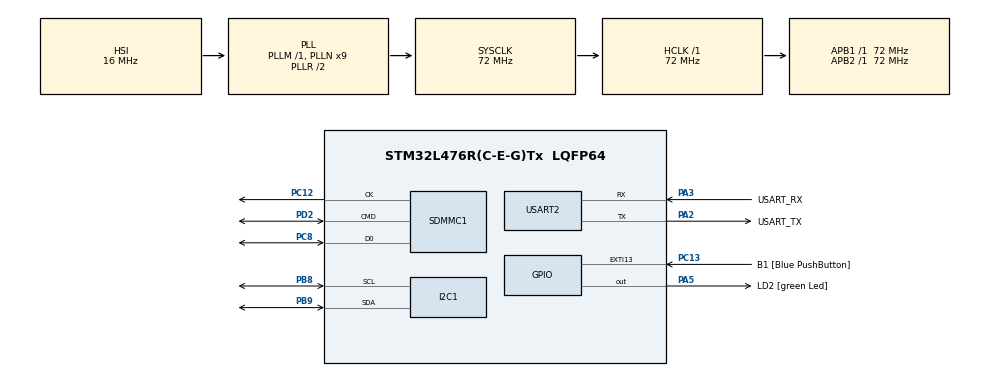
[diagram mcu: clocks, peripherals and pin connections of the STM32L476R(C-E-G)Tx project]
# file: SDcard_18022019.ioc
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FATFS._MAX_SS=4096
I2C1.Timing=0x10808DD3
Mcu.Family=STM32L4
Mcu.Name=STM32L476R(C-E-G)Tx
Mcu.Package=LQFP64
NVIC.PriorityGroup=NVIC_PRIORITYGROUP_4
PA13\ (JTMS-SWDIO).GPIO_Label=TMS
PA13\ (JTMS-SWDIO).Mode=Serial_Wire
PA13\ (JTMS-SWDIO).Signal=SYS_JTMS-SWDIO
PA14\ (JTCK-SWCLK).GPIO_Label=TCK
PA14\ (JTCK-SWCLK).Mode=Serial_Wire
PA14\ (JTCK-SWCLK).Signal=SYS_JTCK-SWCLK
PA2.GPIO_Label=USART_TX
PA2.GPIO_Mode=GPIO_MODE_AF_PP
PA2.GPIO_PuPd=GPIO_NOPULL
PA2.GPIO_Speed=GPIO_SPEED_FREQ_VERY_HIGH
PA2.Mode=Asynchronous
PA2.Signal=USART2_TX
PA3.GPIO_Label=USART_RX
PA3.GPIO_Mode=GPIO_MODE_AF_PP
PA3.GPIO_PuPd=GPIO_NOPULL
PA3.GPIO_Speed=GPIO_SPEED_FREQ_VERY_HIGH
PA3.Mode=Asynchronous
PA3.Signal=USART2_RX
PA5.GPIO_Label=LD2 [green Led]
PA5.GPIO_ModeDefaultOutputPP=GPIO_MODE_OUTPUT_PP
PA5.GPIO_PuPd=GPIO_NOPULL
PA5.GPIO_Speed=GPIO_SPEED_FREQ_LOW
PA5.Signal=GPIO_Output
PB3\ (JTDO-TRACESWO).GPIO_Label=SWO
PB3\ (JTDO-TRACESWO).Signal=SYS_JTDO-SWO
PB8.Mode=I2C
PB8.Signal=I2C1_SCL
PB9.Mode=I2C
PB9.Signal=I2C1_SDA
PC12.Mode=SD_1_bit
PC12.Signal=SDMMC1_CK
PC13.GPIO_Label=B1 [Blue PushButton]
PC13.GPIO_ModeDefaultEXTI=GPIO_MODE_IT_FALLING
PC13.GPIO_PuPd=GPIO_NOPULL
PC13.Signal=GPXTI13
PC14-OSC32_IN\ (PC14).Mode=LSE-External-Oscillator
PC14-OSC32_IN\ (PC14).Signal=RCC_OSC32_IN
PC15-OSC32_OUT\ (PC15).Mode=LSE-External-Oscillator
PC15-OSC32_OUT\ (PC15).Signal=RCC_OSC32_OUT
PC8.Mode=SD_1_bit
PC8.Signal=SDMMC1_D0
PD2.Mode=SD_1_bit
PD2.Signal=SDMMC1_CMD
PH0-OSC_IN\ (PH0).Signal=RCC_OSC_IN
PH1-OSC_OUT\ (PH1).Signal=RCC_OSC_OUT
ProjectManager.HeapSize=0x2000
ProjectManager.StackSize=0x4000
ProjectManager.TargetToolchain=MDK-ARM V5
RCC.ADCFreq_Value=64000000
RCC.AHBFreq_Value=72000000
RCC.APB1Freq_Value=72000000
RCC.APB1TimFreq_Value=72000000
RCC.APB2Freq_Value=72000000
RCC.APB2TimFreq_Value=72000000
RCC.CortexFreq_Value=72000000
RCC.HCLKFreq_Value=72000000
RCC.HSE_VALUE=8000000
RCC.HSI_VALUE=16000000
RCC.MSI_VALUE=4000000
RCC.PLLN=9
RCC.PLLSAI1Q=RCC_PLLQ_DIV4
RCC.PLLSourceVirtual=RCC_PLLSOURCE_HSI
RCC.PREFETCH_ENABLE=1
RCC.SYSCLKFreq_VALUE=72000000
RCC.SYSCLKSource=RCC_SYSCLKSOURCE_PLLCLK
RCC.USBFreq_Value=32000000
RCC.VCOOutputFreq_Value=144000000
SDMMC1.ClockDiv=3
USART2.VirtualMode-Asynchronous=VM_ASYNC
VP_FATFS_VS_SDIO.Mode=SDIO
board=NUCLEO-L476RG

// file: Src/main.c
/**
  ******************************************************************************
  * @file           : main.c
  * @brief          : Main program body
  ******************************************************************************
  * This notice applies to any and all portions of this file
  * that are not between comment pairs USER CODE BEGIN and
  * USER CODE END. Other portions of this file, whether
  * inserted by the user or by software development tools
  * are owned by their respective copyright owners.
  *
  * Copyright (c) 2019 STMicroelectronics International N.V.
  * All rights reserved.
  *
  * Redistribution and use in source and binary forms, with or without
  * modification, are permitted, provided that the following conditions are met:
  *
  * 1. Redistribution of source code must retain the above copyright notice,
  *    this list of conditions and the following disclaimer.
  * 2. Redistributions in binary form must reproduce the above copyright notice,
  *    this list of conditions and the following disclaimer in the documentation
  *    and/or other materials provided with the distribution.
  * 3. Neither the name of STMicroelectronics nor the names of other
  *    contributors to this software may be used to endorse or promote products
  *    derived from this software without specific written permission.
  * 4. This software, including modifications and/or derivative works of this
  *    software, must execute solely and exclusively on microcontroller or
  *    microprocessor devices manufactured by or for STMicroelectronics.
  * 5. Redistribution and use of this software other than as permitted under
  *    this license is void and will automatically terminate your rights under
  *    this license.
  *
  * THIS SOFTWARE IS PROVIDED BY STMICROELECTRONICS AND CONTRIBUTORS "AS IS"
  * AND ANY EXPRESS, IMPLIED OR STATUTORY WARRANTIES, INCLUDING, BUT NOT
  * LIMITED TO, THE IMPLIED WARRANTIES OF MERCHANTABILITY, FITNESS FOR A
  * PARTICULAR PURPOSE AND NON-INFRINGEMENT OF THIRD PARTY INTELLECTUAL PROPERTY
  * RIGHTS ARE DISCLAIMED TO THE FULLEST EXTENT PERMITTED BY LAW. IN NO EVENT
  * SHALL STMICROELECTRONICS OR CONTRIBUTORS BE LIABLE FOR ANY DIRECT, INDIRECT,
  * INCIDENTAL, SPECIAL, EXEMPLARY, OR CONSEQUENTIAL DAMAGES (INCLUDING, BUT NOT
  * LIMITED TO, PROCUREMENT OF SUBSTITUTE GOODS OR SERVICES; LOSS OF USE, DATA,
  * OR PROFITS; OR BUSINESS INTERRUPTION) HOWEVER CAUSED AND ON ANY THEORY OF
  * LIABILITY, WHETHER IN CONTRACT, STRICT LIABILITY, OR TORT (INCLUDING
  * NEGLIGENCE OR OTHERWISE) ARISING IN ANY WAY OUT OF THE USE OF THIS SOFTWARE,
  * EVEN IF ADVISED OF THE POSSIBILITY OF SUCH DAMAGE.
  *
  ******************************************************************************
  */
#include "main.h"
#include "stm32l4xx_hal.h"
#include "fatfs.h"
#include "i2c.h"
#include "sdmmc.h"
#include "usart.h"
#include "gpio.h"
#include "SD_card.h"

/* USER CODE BEGIN PV */
/* Private variables ---------------------------------------------------------*/
uint8_t error = 0;
uint8_t data =0x01;
/* USER CODE END PV */

void SystemClock_Config(void);

/* USER CODE BEGIN PFP */
/* Private function prototypes -----------------------------------------------*/

/* USER CODE END PFP */

int main(void)
{

  /* MCU Configuration----------------------------------------------------------*/

  /* Reset of all peripherals, Initializes the Flash interface and the Systick. */
  HAL_Init();

  /* Configure the system clock */
  SystemClock_Config();

  /* Initialize all configured peripherals */
  MX_GPIO_Init();
  MX_USART2_UART_Init();
  MX_SDMMC1_SD_Init();
  MX_FATFS_Init();
  MX_I2C1_Init();
  /* USER CODE BEGIN 2 */
  FATFS myFATFS;
  FIL myFILE;
  UINT testByte;

HAL_GPIO_WritePin(LD2_GPIO_Port, LD2_Pin, 1);
HAL_Delay(100);

//	error = Store_data(0x00);

  if(f_mount(&myFATFS, SDPath, 1) == FR_OK)
  {
	  HAL_GPIO_WritePin(LD2_GPIO_Port, LD2_Pin, 1);
	  char myFileName[] = "WRITE1.TXT";

	  if(f_open(&myFILE, myFileName, (FA_WRITE | FA_CREATE_ALWAYS)) == FR_OK){

		  HAL_GPIO_WritePin(LD2_GPIO_Port, LD2_Pin, 1);

		char myData[] = "Hello World";
//		sprintf(myData, "%u\n", data);
		 if(f_write(&myFILE, myData, sizeof(myData), &testByte) == FR_OK){

			  HAL_GPIO_WritePin(LD2_GPIO_Port, LD2_Pin, 1);
		 }
		 else{
			 for(uint8_t i=0; i<10; i++){
				 HAL_Delay(100);
				 HAL_GPIO_TogglePin(LD2_GPIO_Port, LD2_Pin);

			 }
		 }
		 f_close(&myFILE);
	  }
  }

  else{
		for(uint8_t i=0; i<10; i++){
			HAL_Delay(100);
			HAL_GPIO_TogglePin(LD2_GPIO_Port, LD2_Pin);
		}
  }

	HAL_GPIO_WritePin(LD2_GPIO_Port, LD2_Pin, 1);
	HAL_Delay(100);
	HAL_GPIO_WritePin(LD2_GPIO_Port, LD2_Pin, 0);

  /* USER CODE END 2 */

  /* Infinite loop */
  while (1)
  {

  }

}

void SystemClock_Config(void)
{

  RCC_OscInitTypeDef RCC_OscInitStruct;
  RCC_ClkInitTypeDef RCC_ClkInitStruct;
  RCC_PeriphCLKInitTypeDef PeriphClkInit;

    /**Initializes the CPU, AHB and APB busses clocks
    */
  RCC_OscInitStruct.OscillatorType = RCC_OSCILLATORTYPE_HSI;
  RCC_OscInitStruct.HSIState = RCC_HSI_ON;
  RCC_OscInitStruct.HSICalibrationValue = 16;
  RCC_OscInitStruct.PLL.PLLState = RCC_PLL_ON;
  RCC_OscInitStruct.PLL.PLLSource = RCC_PLLSOURCE_HSI;
  RCC_OscInitStruct.PLL.PLLM = 1;
  RCC_OscInitStruct.PLL.PLLN = 9;
  RCC_OscInitStruct.PLL.PLLP = RCC_PLLP_DIV7;
  RCC_OscInitStruct.PLL.PLLQ = RCC_PLLQ_DIV2;
  RCC_OscInitStruct.PLL.PLLR = RCC_PLLR_DIV2;
  if (HAL_RCC_OscConfig(&RCC_OscInitStruct) != HAL_OK)
  {
    _Error_Handler(__FILE__, __LINE__);
  }

    /**Initializes the CPU, AHB and APB busses clocks
    */
  RCC_ClkInitStruct.ClockType = RCC_CLOCKTYPE_HCLK|RCC_CLOCKTYPE_SYSCLK
                              |RCC_CLOCKTYPE_PCLK1|RCC_CLOCKTYPE_PCLK2;
  RCC_ClkInitStruct.SYSCLKSource = RCC_SYSCLKSOURCE_PLLCLK;
  RCC_ClkInitStruct.AHBCLKDivider = RCC_SYSCLK_DIV1;
  RCC_ClkInitStruct.APB1CLKDivider = RCC_HCLK_DIV1;
  RCC_ClkInitStruct.APB2CLKDivider = RCC_HCLK_DIV1;

  if (HAL_RCC_ClockConfig(&RCC_ClkInitStruct, FLASH_LATENCY_4) != HAL_OK)
  {
    _Error_Handler(__FILE__, __LINE__);
  }

  PeriphClkInit.PeriphClockSelection = RCC_PERIPHCLK_USART2|RCC_PERIPHCLK_I2C1
                              |RCC_PERIPHCLK_SDMMC1;
  PeriphClkInit.Usart2ClockSelection = RCC_USART2CLKSOURCE_PCLK1;
  PeriphClkInit.I2c1ClockSelection = RCC_I2C1CLKSOURCE_PCLK1;
  PeriphClkInit.Sdmmc1ClockSelection = RCC_SDMMC1CLKSOURCE_PLLSAI1;
  PeriphClkInit.PLLSAI1.PLLSAI1Source = RCC_PLLSOURCE_HSI;
  PeriphClkInit.PLLSAI1.PLLSAI1M = 1;
  PeriphClkInit.PLLSAI1.PLLSAI1N = 8;
  PeriphClkInit.PLLSAI1.PLLSAI1P = RCC_PLLP_DIV7;
  PeriphClkInit.PLLSAI1.PLLSAI1Q = RCC_PLLQ_DIV4;
  PeriphClkInit.PLLSAI1.PLLSAI1R = RCC_PLLR_DIV2;
  PeriphClkInit.PLLSAI1.PLLSAI1ClockOut = RCC_PLLSAI1_48M2CLK;
  if (HAL_RCCEx_PeriphCLKConfig(&PeriphClkInit) != HAL_OK)
  {
    _Error_Handler(__FILE__, __LINE__);
  }

    /**Configure the main internal regulator output voltage
    */
  if (HAL_PWREx_ControlVoltageScaling(PWR_REGULATOR_VOLTAGE_SCALE1) != HAL_OK)
  {
    _Error_Handler(__FILE__, __LINE__);
  }

    /**Configure the Systick interrupt time
    */
  HAL_SYSTICK_Config(HAL_RCC_GetHCLKFreq()/1000);

    /**Configure the Systick
    */
  HAL_SYSTICK_CLKSourceConfig(SYSTICK_CLKSOURCE_HCLK);

  /* SysTick_IRQn interrupt configuration */
  HAL_NVIC_SetPriority(SysTick_IRQn, 0, 0);
}

void _Error_Handler(char *file, int line)
{
  while(1)
  {
  }
}

/************************ (C) COPYRIGHT STMicroelectronics *****END OF FILE****/
